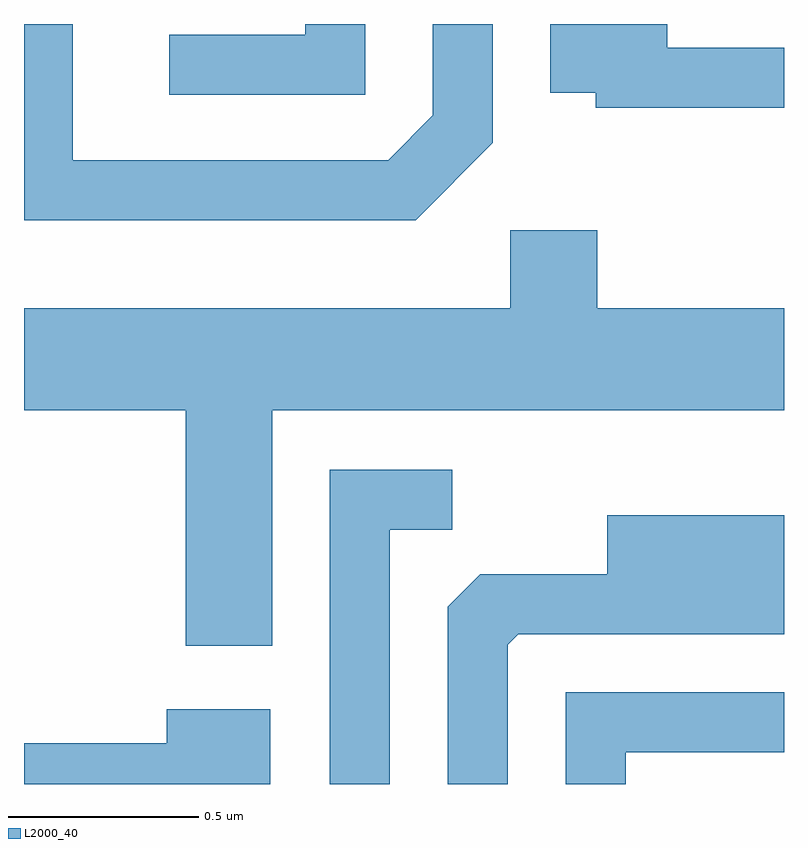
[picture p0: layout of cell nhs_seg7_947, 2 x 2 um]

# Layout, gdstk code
import gdstk
lib = gdstk.Library(unit=1e-6, precision=1e-09)
def P(c, l, *ps):  # polygons
    for p in ps: c.add(gdstk.Polygon(p, *l))
L2000_40 = (2000, 40)

nhs_seg7_947 = lib.new_cell('nhs_seg7_947')
P(nhs_seg7_947, L2000_40, [(192.509,1795.252),(192.351,1795.252),(192.351,1795.224),(191.993,1795.224),(191.993,1795.066),(192.509,1795.066)],
  [(192.844,1794.939),(192.844,1795.252),(192.686,1795.252),(192.686,1795.012),(192.569,1794.894),(191.739,1794.894),(191.739,1795.252),(191.611,1795.252),(191.611,1794.736),(192.642,1794.736)],
  [(193.611,1795.189),(193.304,1795.189),(193.304,1795.252),(192.996,1795.252),(192.996,1795.071),(193.116,1795.071),(193.116,1795.031),(193.611,1795.031)],
  [(192.264,1794.236),(193.611,1794.236),(193.611,1794.504),(193.119,1794.504),(193.119,1794.709),(192.891,1794.709),(192.891,1794.504),(191.611,1794.504),(191.611,1794.236),(192.036,1794.236),(192.036,1793.616),(192.264,1793.616)],
  [(192.574,1793.921),(192.738,1793.921),(192.738,1794.079),(192.416,1794.079),(192.416,1793.252),(192.574,1793.252)],
  [(192.884,1793.619),(192.912,1793.646),(193.611,1793.646),(193.611,1793.959),(193.146,1793.959),(193.146,1793.804),(192.812,1793.804),(192.726,1793.719),(192.726,1793.252),(192.884,1793.252)],
  [(193.194,1793.336),(193.611,1793.336),(193.611,1793.494),(193.036,1793.494),(193.036,1793.252),(193.194,1793.252)],
  [(192.259,1793.449),(191.986,1793.449),(191.986,1793.359),(191.611,1793.359),(191.611,1793.252),(192.259,1793.252)])

lib.write_gds('nhs_seg7_947.gds')
